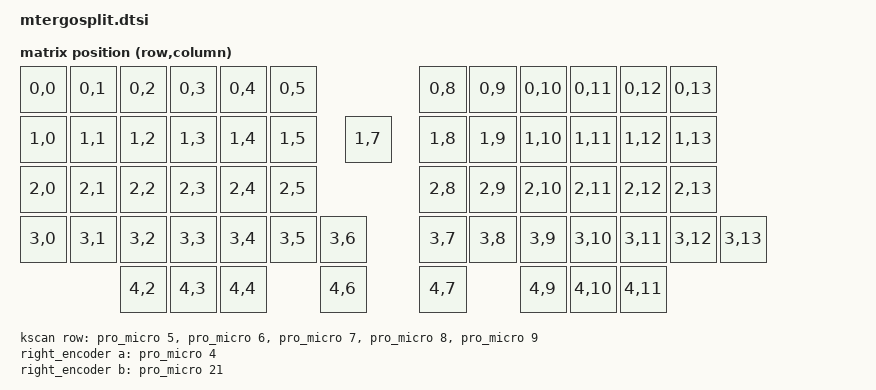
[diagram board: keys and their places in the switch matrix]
/*
 * Copyright (c) 2020 Pete Johanson
 *
 * SPDX-License-Identifier: MIT
 */

#include <dt-bindings/zmk/matrix_transform.h>

/ {
    chosen {
        zmk,physical-layout = &layout;
        zmk,kscan = &kscan;
};

    transform: matrix_transform_0 {
        compatible = "zmk,matrix-transform";
        columns = <14>;
        rows = <5>;

        map = <
            RC(0,0) RC(0,1) RC(0,2) RC(0,3) RC(0,4) RC(0,5)                     RC(0,8) RC(0,9) RC(0,10) RC(0,11) RC(0,12) RC(0,13)
            RC(1,0) RC(1,1) RC(1,2) RC(1,3) RC(1,4) RC(1,5)             RC(1,7) RC(1,8) RC(1,9) RC(1,10) RC(1,11) RC(1,12) RC(1,13)
            RC(2,0) RC(2,1) RC(2,2) RC(2,3) RC(2,4) RC(2,5)                     RC(2,8) RC(2,9) RC(2,10) RC(2,11) RC(2,12) RC(2,13)
            RC(3,0) RC(3,1) RC(3,2) RC(3,3) RC(3,4) RC(3,5) RC(3,6)    RC(3,7) RC(3,8) RC(3,9) RC(3,10) RC(3,11) RC(3,12) RC(3,13)
                            RC(4,2) RC(4,3) RC(4,4)         RC(4,6)    RC(4,7)           RC(4,9) RC(4,10) RC(4,11)
        >;
    };

    kscan: kscan {
        compatible = "zmk,kscan-gpio-matrix";
        wakeup-source;
        diode-direction = "col2row";

        row-gpios
            = <&pro_micro 5 (GPIO_ACTIVE_HIGH | GPIO_PULL_DOWN)>
            , <&pro_micro 6 (GPIO_ACTIVE_HIGH | GPIO_PULL_DOWN)>
            , <&pro_micro 7 (GPIO_ACTIVE_HIGH | GPIO_PULL_DOWN)>
            , <&pro_micro 8 (GPIO_ACTIVE_HIGH | GPIO_PULL_DOWN)>
            , <&pro_micro 9 (GPIO_ACTIVE_HIGH | GPIO_PULL_DOWN)>
            ;
    };

    right_encoder: encoder_right {
        compatible = "alps,ec11";
        a-gpios = <&pro_micro 4 (GPIO_ACTIVE_HIGH | GPIO_PULL_UP)>;
        b-gpios = <&pro_micro 21 (GPIO_ACTIVE_HIGH | GPIO_PULL_UP)>;
        steps = <24>;
    };

    sensors: sensors {
        compatible = "zmk,keymap-sensors";
        sensors = <&right_encoder>;
        triggers-per-rotation = <24>;
    };
    
    layout: layout {
    compatible = "zmk,physical-layout";
    display-name = "mtErgoSplit Ortho 4x6";
    transform = <&transform>;
    kscan = <&kscan>;
    keys = <
        &key_physical_attrs 100 100 0    0   0 0 0  // 0  ESC
        &key_physical_attrs 100 100 100  0   0 0 0  // 1  1
        &key_physical_attrs 100 100 200  0   0 0 0  // 2  2
        &key_physical_attrs 100 100 300  0   0 0 0  // 3  3
        &key_physical_attrs 100 100 400  0   0 0 0  // 4  4
        &key_physical_attrs 100 100 500  0   0 0 0  // 5  5
        &key_physical_attrs 100 100 800  0   0 0 0  // 6  6
        &key_physical_attrs 100 100 900  0   0 0 0  // 7  7
        &key_physical_attrs 100 100 1000 0   0 0 0  // 8  8
        &key_physical_attrs 100 100 1100 0   0 0 0  // 9  9
        &key_physical_attrs 100 100 1200 0   0 0 0  // 10 0
        &key_physical_attrs 100 100 1300 0   0 0 0  // 11 BSPC
        &key_physical_attrs 100 100 0    100 0 0 0  // 12 TAB
        &key_physical_attrs 100 100 100  100 0 0 0  // 13 Q
        &key_physical_attrs 100 100 200  100 0 0 0  // 14 W
        &key_physical_attrs 100 100 300  100 0 0 0  // 15 E
        &key_physical_attrs 100 100 400  100 0 0 0  // 16 R
        &key_physical_attrs 100 100 500  100 0 0 0  // 17 T
        &key_physical_attrs 100 100 650  100 0 0 0  // 18 ENCODER BTN
        &key_physical_attrs 100 100 800  100 0 0 0  // 19 Y
        &key_physical_attrs 100 100 900  100 0 0 0  // 20 U
        &key_physical_attrs 100 100 1000 100 0 0 0  // 21 I
        &key_physical_attrs 100 100 1100 100 0 0 0  // 22 O
        &key_physical_attrs 100 100 1200 100 0 0 0  // 23 P
        &key_physical_attrs 100 100 1300 100 0 0 0  // 24 -
        &key_physical_attrs 100 100 0    200 0 0 0  // 25 SHIFT/CAPS
        &key_physical_attrs 100 100 100  200 0 0 0  // 26 A
        &key_physical_attrs 100 100 200  200 0 0 0  // 27 S
        &key_physical_attrs 100 100 300  200 0 0 0  // 28 D
        &key_physical_attrs 100 100 400  200 0 0 0  // 29 F
        &key_physical_attrs 100 100 500  200 0 0 0  // 30 G
        &key_physical_attrs 100 100 800  200 0 0 0  // 31 H
        &key_physical_attrs 100 100 900  200 0 0 0  // 32 J
        &key_physical_attrs 100 100 1000 200 0 0 0  // 33 K
        &key_physical_attrs 100 100 1100 200 0 0 0  // 34 L
        &key_physical_attrs 100 100 1200 200 0 0 0  // 35 ;
        &key_physical_attrs 100 100 1300 200 0 0 0  // 36 '
        &key_physical_attrs 100 100 0    300 0 0 0  // 37 LCTRL
        &key_physical_attrs 100 100 100  300 0 0 0  // 38 Z
        &key_physical_attrs 100 100 200  300 0 0 0  // 39 X
        &key_physical_attrs 100 100 300  300 0 0 0  // 40 C
        &key_physical_attrs 100 100 400  300 0 0 0  // 41 V
        &key_physical_attrs 100 100 500  300 0 0 0  // 42 B
        &key_physical_attrs 100 100 600  300 0 0 0  // 43 [
        &key_physical_attrs 100 100 800  300 0 0 0  // 44 ]
        &key_physical_attrs 100 100 900  300 0 0 0  // 45 N
        &key_physical_attrs 100 100 1000 300 0 0 0  // 46 M
        &key_physical_attrs 100 100 1100 300 0 0 0  // 47 ,
        &key_physical_attrs 100 100 1200 300 0 0 0  // 48 .
        &key_physical_attrs 100 100 1300 300 0 0 0  // 49 /
        &key_physical_attrs 100 100 1400 300 0 0 0  // 50 BSLH
        &key_physical_attrs 100 100 200  400 0 0 0  // 51 LALT
        &key_physical_attrs 100 100 300  400 0 0 0  // 52 LGUI
        &key_physical_attrs 100 100 400  400 0 0 0  // 53 RAISE_R
        &key_physical_attrs 100 100 600  400 0 0 0  // 54 RET
        &key_physical_attrs 100 100 800  400 0 0 0  // 55 SPACE
        &key_physical_attrs 100 100 1000 400 0 0 0  // 56 RAISE_L
        &key_physical_attrs 100 100 1100 400 0 0 0  // 57 RALT
        &key_physical_attrs 100 100 1200 400 0 0 0  // 58 FN_KEYS
    >;
};

};
